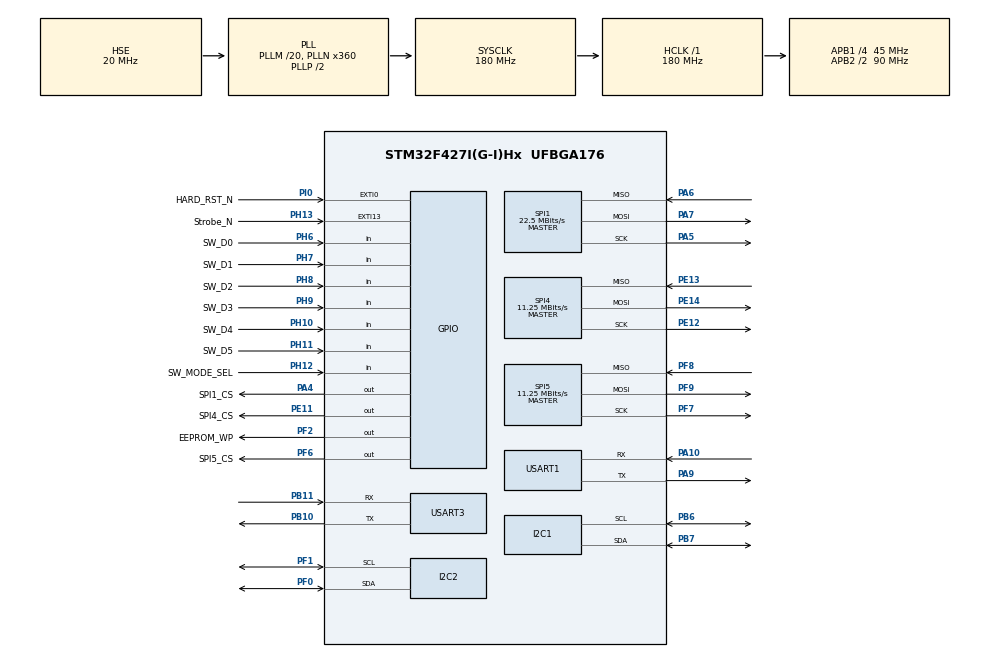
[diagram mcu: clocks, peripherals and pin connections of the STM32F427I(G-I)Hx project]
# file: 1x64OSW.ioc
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ADC1.Channel-0\#ChannelRegularConversion=ADC_CHANNEL_TEMPSENSOR
ADC1.NbrOfConversionFlag=1
ADC1.Rank-0\#ChannelRegularConversion=1
ADC1.SamplingTime-0\#ChannelRegularConversion=ADC_SAMPLETIME_3CYCLES
ADC1.master=1
Dma.Request0=USART1_RX
Dma.USART1_RX.0.Direction=DMA_PERIPH_TO_MEMORY
Dma.USART1_RX.0.FIFOMode=DMA_FIFOMODE_DISABLE
Dma.USART1_RX.0.Instance=DMA2_Stream2
Dma.USART1_RX.0.MemDataAlignment=DMA_MDATAALIGN_BYTE
Dma.USART1_RX.0.MemInc=DMA_MINC_ENABLE
Dma.USART1_RX.0.Mode=DMA_NORMAL
Dma.USART1_RX.0.PeriphDataAlignment=DMA_PDATAALIGN_BYTE
Dma.USART1_RX.0.PeriphInc=DMA_PINC_DISABLE
Dma.USART1_RX.0.Priority=DMA_PRIORITY_VERY_HIGH
FREERTOS.Tasks01=defaultTask,24,128,StartDefaultTask,Default,NULL,Dynamic,NULL,NULL
IWDG.Prescaler=IWDG_PRESCALER_32
IWDG.Reload=1500
Mcu.Family=STM32F4
Mcu.Name=STM32F427I(G-I)Hx
Mcu.Package=UFBGA176
NVIC.DMA2_Stream2_IRQn=true\:5\:0\:false\:false\:true\:true\:false\:true
NVIC.EXTI0_IRQn=true\:5\:0\:false\:false\:true\:true\:true\:true
NVIC.EXTI15_10_IRQn=true\:5\:0\:false\:false\:true\:true\:true\:true
NVIC.FLASH_IRQn=true\:5\:0\:false\:false\:true\:true\:true\:true
NVIC.PriorityGroup=NVIC_PRIORITYGROUP_4
NVIC.TIM1_TRG_COM_TIM11_IRQn=true\:0\:0\:false\:false\:true\:false\:false\:true
NVIC.TimeBase=TIM1_TRG_COM_TIM11_IRQn
NVIC.TimeBaseIP=TIM11
NVIC.USART1_IRQn=true\:5\:0\:false\:false\:true\:true\:true\:true
PA10.Mode=Asynchronous
PA10.Signal=USART1_RX
PA4.GPIO_Label=SPI1_CS
PA4.GPIO_PuPd=GPIO_PULLDOWN
PA4.Signal=GPIO_Output
PA5.Mode=Full_Duplex_Master
PA5.Signal=SPI1_SCK
PA6.Mode=Full_Duplex_Master
PA6.Signal=SPI1_MISO
PA7.Mode=Full_Duplex_Master
PA7.Signal=SPI1_MOSI
PA9.Mode=Asynchronous
PA9.Signal=USART1_TX
PB10.Mode=Asynchronous
PB10.Signal=USART3_TX
PB11.Mode=Asynchronous
PB11.Signal=USART3_RX
PB6.Mode=I2C
PB6.Signal=I2C1_SCL
PB7.Mode=I2C
PB7.Signal=I2C1_SDA
PE11.GPIO_Label=SPI4_CS
PE11.GPIO_PuPd=GPIO_PULLUP
PE11.Signal=GPIO_Output
PE12.Mode=Full_Duplex_Master
PE12.Signal=SPI4_SCK
PE13.Mode=Full_Duplex_Master
PE13.Signal=SPI4_MISO
PE14.Mode=Full_Duplex_Master
PE14.Signal=SPI4_MOSI
PF0.Mode=I2C
PF0.Signal=I2C2_SDA
PF1.Mode=I2C
PF1.Signal=I2C2_SCL
PF2.GPIO_Label=EEPROM_WP
PF2.GPIO_PuPd=GPIO_PULLUP
PF2.Signal=GPIO_Output
PF6.GPIO_Label=SPI5_CS
PF6.GPIO_PuPd=GPIO_PULLUP
PF6.Signal=GPIO_Output
PF7.Mode=Full_Duplex_Master
PF7.Signal=SPI5_SCK
PF8.Mode=Full_Duplex_Master
PF8.Signal=SPI5_MISO
PF9.Mode=Full_Duplex_Master
PF9.Signal=SPI5_MOSI
PH0/OSC_IN.Mode=HSE-External-Oscillator
PH0/OSC_IN.Signal=RCC_OSC_IN
PH1/OSC_OUT.Mode=HSE-External-Oscillator
PH1/OSC_OUT.Signal=RCC_OSC_OUT
PH10.GPIO_Label=SW_D4
PH10.Signal=GPIO_Input
PH11.GPIO_Label=SW_D5
PH11.Signal=GPIO_Input
PH12.GPIO_Label=SW_MODE_SEL
PH12.Signal=GPIO_Input
PH13.GPIO_Label=Strobe_N
PH13.GPIO_ModeDefaultEXTI=GPIO_MODE_IT_FALLING
PH13.GPIO_PuPd=GPIO_PULLUP
PH13.Signal=GPXTI13
PH6.GPIO_Label=SW_D0
PH6.Signal=GPIO_Input
PH7.GPIO_Label=SW_D1
PH7.Signal=GPIO_Input
PH8.GPIO_Label=SW_D2
PH8.Signal=GPIO_Input
PH9.GPIO_Label=SW_D3
PH9.Signal=GPIO_Input
PI0.GPIO_Label=HARD_RST_N
PI0.Signal=GPXTI0
ProjectManager.HeapSize=0x200
ProjectManager.StackSize=0x400
ProjectManager.TargetToolchain=MDK-ARM V5
RCC.48MHZClocksFreq_Value=90000000
RCC.AHBFreq_Value=180000000
RCC.APB1CLKDivider=RCC_HCLK_DIV4
RCC.APB1Freq_Value=45000000
RCC.APB1TimFreq_Value=90000000
RCC.APB2CLKDivider=RCC_HCLK_DIV2
RCC.APB2Freq_Value=90000000
RCC.APB2TimFreq_Value=180000000
RCC.CortexFreq_Value=180000000
RCC.HCLKFreq_Value=180000000
RCC.HSE_VALUE=20000000
RCC.HSI_VALUE=16000000
RCC.LSE_VALUE=32768
RCC.PLLM=20
RCC.PLLN=360
RCC.PLLSourceVirtual=RCC_PLLSOURCE_HSE
RCC.SYSCLKFreq_VALUE=180000000
RCC.SYSCLKSource=RCC_SYSCLKSOURCE_PLLCLK
RCC.VCOOutputFreq_Value=360000000
RTC.AsynchPrediv=124
SPI1.BaudRatePrescaler=SPI_BAUDRATEPRESCALER_4
SPI1.CLKPhase=SPI_PHASE_2EDGE
SPI1.CalculateBaudRate=22.5 MBits/s
SPI1.Direction=SPI_DIRECTION_2LINES
SPI1.Mode=SPI_MODE_MASTER
SPI1.VirtualType=VM_MASTER
SPI4.BaudRatePrescaler=SPI_BAUDRATEPRESCALER_8
SPI4.CalculateBaudRate=11.25 MBits/s
SPI4.Direction=SPI_DIRECTION_2LINES
SPI4.Mode=SPI_MODE_MASTER
SPI4.VirtualType=VM_MASTER
SPI5.BaudRatePrescaler=SPI_BAUDRATEPRESCALER_8
SPI5.CalculateBaudRate=11.25 MBits/s
SPI5.Direction=SPI_DIRECTION_2LINES
SPI5.Mode=SPI_MODE_MASTER
SPI5.VirtualType=VM_MASTER
USART1.VirtualMode=VM_ASYNC
USART3.VirtualMode=VM_ASYNC
VP_ADC1_TempSens_Input.Mode=IN-TempSens
VP_FREERTOS_VS_CMSIS_V2.Mode=CMSIS_V2
VP_IWDG_VS_IWDG.Mode=IWDG_Activate
VP_RTC_VS_RTC_Activate.Mode=RTC_Enabled
VP_SYS_VS_tim11.Mode=TIM11
board=custom

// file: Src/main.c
/* USER CODE BEGIN Header */
/**
  ******************************************************************************
  * @file           : main.c
  * @brief          : Main program body
  ******************************************************************************
  * @attention
  *
  * <h2><center>&copy; Copyright (c) 2020 STMicroelectronics.
  * All rights reserved.</center></h2>
  *
  * This software component is licensed by ST under Ultimate Liberty license
  * SLA0044, the "License"; You may not use this file except in compliance with
  * the License. You may obtain a copy of the License at:
  *                             www.st.com/SLA0044
  *
  ******************************************************************************
  */
/* USER CODE END Header */

#include "main.h"
#include "cmsis_os.h"
#include "adc.h"
#include "dma.h"
#include "i2c.h"
#include "iwdg.h"
#include "rtc.h"
#include "spi.h"
#include "usart.h"
#include "gpio.h"

/* USER CODE BEGIN PV */
uint8_t reset_flag = 0;
uint8_t flash_in_use;
UpgradeFlashState upgrade_status;
LogFileState log_file_state;
const uint32_t file_flash_addr[] =  {  0x08100000, 0x08104000, 0x08108000 };
const uint32_t file_flash_end = 0x0810BFFF;
const uint8_t file_flash_count = sizeof(file_flash_addr) / sizeof (file_flash_addr[0]);
/* USER CODE END PV */

void SystemClock_Config(void);
void MX_FREERTOS_Init(void);

/* USER CODE BEGIN 0 */
extern UpgradeStruct up_state;
/* USER CODE END 0 */

int main(void)
{

  /* MCU Configuration--------------------------------------------------------*/

  /* Reset of all peripherals, Initializes the Flash interface and the Systick. */
  HAL_Init();

  /* Configure the system clock */
  SystemClock_Config();

  /* Initialize all configured peripherals */
  MX_GPIO_Init();
  MX_DMA_Init();
  MX_ADC1_Init();
  MX_I2C1_Init();
  MX_I2C2_Init();
  MX_IWDG_Init();
  MX_SPI1_Init();
  MX_SPI4_Init();
  MX_SPI5_Init();
  MX_USART1_UART_Init();
  MX_USART3_UART_Init();
  MX_RTC_Init();
  /* Init scheduler */
  osKernelInitialize();

  /* Call init function for freertos objects (in freertos.c) */
  MX_FREERTOS_Init();

  /* Start scheduler */
  osKernelStart();

  /* We should never get here as control is now taken by the scheduler */

  /* Infinite loop */
  while (1)
  {

  }
}

void SystemClock_Config(void)
{
  RCC_OscInitTypeDef RCC_OscInitStruct = {0};
  RCC_ClkInitTypeDef RCC_ClkInitStruct = {0};
  RCC_PeriphCLKInitTypeDef PeriphClkInitStruct = {0};

  /** Configure the main internal regulator output voltage
  */
  __HAL_RCC_PWR_CLK_ENABLE();
  __HAL_PWR_VOLTAGESCALING_CONFIG(PWR_REGULATOR_VOLTAGE_SCALE1);
  /** Initializes the CPU, AHB and APB busses clocks
  */
  RCC_OscInitStruct.OscillatorType = RCC_OSCILLATORTYPE_LSI|RCC_OSCILLATORTYPE_HSE;
  RCC_OscInitStruct.HSEState = RCC_HSE_ON;
  RCC_OscInitStruct.LSIState = RCC_LSI_ON;
  RCC_OscInitStruct.PLL.PLLState = RCC_PLL_ON;
  RCC_OscInitStruct.PLL.PLLSource = RCC_PLLSOURCE_HSE;
  RCC_OscInitStruct.PLL.PLLM = 20;
  RCC_OscInitStruct.PLL.PLLN = 360;
  RCC_OscInitStruct.PLL.PLLP = RCC_PLLP_DIV2;
  RCC_OscInitStruct.PLL.PLLQ = 4;
  if (HAL_RCC_OscConfig(&RCC_OscInitStruct) != HAL_OK)
  {
    Error_Handler();
  }
  /** Activate the Over-Drive mode
  */
  if (HAL_PWREx_EnableOverDrive() != HAL_OK)
  {
    Error_Handler();
  }
  /** Initializes the CPU, AHB and APB busses clocks
  */
  RCC_ClkInitStruct.ClockType = RCC_CLOCKTYPE_HCLK|RCC_CLOCKTYPE_SYSCLK
                              |RCC_CLOCKTYPE_PCLK1|RCC_CLOCKTYPE_PCLK2;
  RCC_ClkInitStruct.SYSCLKSource = RCC_SYSCLKSOURCE_PLLCLK;
  RCC_ClkInitStruct.AHBCLKDivider = RCC_SYSCLK_DIV1;
  RCC_ClkInitStruct.APB1CLKDivider = RCC_HCLK_DIV4;
  RCC_ClkInitStruct.APB2CLKDivider = RCC_HCLK_DIV2;

  if (HAL_RCC_ClockConfig(&RCC_ClkInitStruct, FLASH_LATENCY_5) != HAL_OK)
  {
    Error_Handler();
  }
  PeriphClkInitStruct.PeriphClockSelection = RCC_PERIPHCLK_RTC;
  PeriphClkInitStruct.RTCClockSelection = RCC_RTCCLKSOURCE_LSI;
  if (HAL_RCCEx_PeriphCLKConfig(&PeriphClkInitStruct) != HAL_OK)
  {
    Error_Handler();
  }
}

/* USER CODE BEGIN 4 */
extern RespondStu resp_buf;
void OSW_Init(void)
{
  osStatus_t status;
  uint32_t i;
  uint8_t buf[TAG_MAX_SPACE];
  char *p = (char*)resp_buf.buf;

  EPT("Firmware version: %s\n", fw_version);

  if (__HAL_RCC_GET_FLAG(RCC_FLAG_BORRST) != RESET){
    SET_RESETFLAG(BOR_RESET_BIT);
    EPT("BOR Reset is set\n");
  }
  if (__HAL_RCC_GET_FLAG(RCC_FLAG_PINRST) != RESET){
    SET_RESETFLAG(PIN_RESET_BIT);
    EPT("PIN Reset is set\n");
  }
  if (__HAL_RCC_GET_FLAG(RCC_FLAG_PORRST) != RESET){
    SET_RESETFLAG(POR_RESET_BIT);
    EPT("POR/PDR Reset is set\n");
  }
  if (__HAL_RCC_GET_FLAG(RCC_FLAG_SFTRST) != RESET){
    SET_RESETFLAG(SFT_RESET_BIT);
    EPT("Software Reset is set\n");
    memset(p, 0, 116);
    p += 4;
    p += 16;
    status = RTOS_EEPROM_Read(EEPROM_ADDR, EE_TAG_PN, buf, 8);
    memcpy(p, buf, 8);
    p += 10;
    status |= RTOS_EEPROM_Read(EEPROM_ADDR, EE_TAG_DATE, buf, 8);
    memcpy(p, buf, 8);
    p += 10;
    strcpy((char*)p, fw_version);
    p += 37;
    status |= RTOS_EEPROM_Read(EEPROM_ADDR, EE_TAG_ASN, buf, 12);
    memcpy(p, buf, 12);
    p += 20;
    status |= RTOS_EEPROM_Read(EEPROM_ADDR, EE_TAG_FSN, buf, 23);
    memcpy(p, buf, 23);
    p += 23;
    if (status != osOK) {
      EPT("EEPROM ERROR! status = %#X", status);
    }

    Uart_Respond(CMD_SOFTRESET, RESPOND_SUCCESS, resp_buf.buf, 120);
  }
  if (__HAL_RCC_GET_FLAG(RCC_FLAG_IWDGRST) != RESET){
    SET_RESETFLAG(IWDG_RESET_BIT);
    EPT("Independent Watchdog Reset is set\n");
  }
  if (__HAL_RCC_GET_FLAG(RCC_FLAG_WWDGRST) != RESET){
    SET_RESETFLAG(WWDG_RESET_BIT);
    EPT("Window Watchdog Reset is set\n");
  }
  if (__HAL_RCC_GET_FLAG(RCC_FLAG_LPWRRST) != RESET){
    SET_RESETFLAG(LPWR_RESET_BIT);
    EPT("Low-Power Reset is set\n");
  }
/*
  if (IS_RESETFLAG_SET(BOR_RESET_BIT)) {
  }
*/
  __HAL_RCC_CLEAR_RESET_FLAGS();

  // upgrade
  up_state.run = RUN_MODE_APPLICATION;
  up_state.is_erasing = 0;
  flash_in_use = 0;

  FLASH_If_Init();
  status = Get_Up_Status(&upgrade_status);
  if (status) {
    EPT("Get upgrade status failed, status = %u\n", status);
  }
  EPT("upgrade_status: %#X, %u, %u, %u, %#X, %u, %#X\n", upgrade_status.magic, upgrade_status.run, upgrade_status.flash_empty, upgrade_status.length, upgrade_status.crc32,\
                upgrade_status.factory_length, upgrade_status.factory_crc32);

  if (upgrade_status.magic != UPGRADE_MAGIC) {
    EPT("Verify f_state.magic failed\n");
  }
  switch (upgrade_status.run) {
    case 0:
      EPT("Boot from factory\n");
      up_state.upgrade_addr = APPLICATION_1_ADDRESS;
      up_state.upgrade_sector = APPLICATION_1_SECTOR;
      break;
    case 1:
      EPT("Boot from Application 1\n");
      up_state.upgrade_addr = APPLICATION_2_ADDRESS;
      up_state.upgrade_sector = APPLICATION_2_SECTOR;
      break;
    case 2:
      EPT("Boot from Application 2\n");
      up_state.upgrade_addr = APPLICATION_1_ADDRESS;
      up_state.upgrade_sector = APPLICATION_1_SECTOR;
      break;
    default:
      EPT("f_state.run invalid\n");
      up_state.upgrade_addr = RESERVE_ADDRESS;
      up_state.upgrade_sector = RESERVE_SECTOR;
      break;
  }
  EPT("FLASH->OPTCR = %#X\n", FLASH->OPTCR);
  if (!upgrade_status.flash_empty) {
    flash_in_use = 1;
    up_state.is_erasing = 1;
    // erase flash
    EPT("flash is not empty\n");
    if (up_state.upgrade_addr != RESERVE_ADDRESS)
      FLASH_If_Erase_IT(up_state.upgrade_sector);
    EPT("erase sector...\n");
  } else {
    EPT("flash is empty\n");
  }

  // log
  Get_Log_Status(&log_file_state);
  EPT("log_file_state: %#X, %#X\n", log_file_state.offset, log_file_state.header);
  for (i = 0; i < file_flash_count - 1; ++i) {
    if (log_file_state.offset < file_flash_addr[i + 1]) {
      break;
    }
  }
  log_file_state.cur_sector = LOG_FIRST_SECTOR + i;

  Throw_Log((uint8_t*)"OSW1x64 program\n", 16);

}

extern FLASH_ProcessTypeDef pFlash;
extern osMutexId_t i2cMutex;
extern osMessageQueueId_t mid_ISR;
extern osSemaphoreId_t logEraseSemaphore;
void HAL_FLASH_EndOfOperationCallback(uint32_t ReturnValue)
{
  MsgStruct isr_msg;
  if (0xFFFFFFFFU == ReturnValue) {
    EPT("Erase flash operation completely\n");
    HAL_FLASH_Lock();
    flash_in_use = 0;
    if (up_state.is_erasing == 0) {
      // send signal to logTask
      osSemaphoreRelease(logEraseSemaphore);
    } else {
      upgrade_status.flash_empty = 1;
      up_state.is_erasing = 0;
      isr_msg.type = MSG_TYPE_FLASH_ISR;
      osMessageQueuePut(mid_ISR, &isr_msg, 0U, 0U);
    }
  }
}
void HAL_GPIO_EXTI_Callback(uint16_t GPIO_Pin)
{
  uint32_t sw_num;

  if (GPIO_Pin == GPIO_PIN_13) {
    if (HAL_GPIO_ReadPin(SW_MODE_SEL_GPIO_Port, SW_MODE_SEL_Pin) == GPIO_PIN_SET) {
      EPT("Switch strobe signal come but switch mode is set\n");
    } else {
      sw_num = Get_SW_By_IO();
      EPT("Switch number is %u\n", sw_num);
    }
  }
}

/* USER CODE END 4 */

void HAL_TIM_PeriodElapsedCallback(TIM_HandleTypeDef *htim)
{
  if (htim->Instance == TIM11) {
    HAL_IncTick();
  }
}

void Error_Handler(void)
{
}

/************************ (C) COPYRIGHT STMicroelectronics *****END OF FILE****/

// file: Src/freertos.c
/* USER CODE BEGIN Header */
/**
  ******************************************************************************
  * File Name          : freertos.c
  * Description        : Code for freertos applications
  ******************************************************************************
  * @attention
  *
  * <h2><center>&copy; Copyright (c) 2020 STMicroelectronics.
  * All rights reserved.</center></h2>
  *
  * This software component is licensed by ST under Ultimate Liberty license
  * SLA0044, the "License"; You may not use this file except in compliance with
  * the License. You may obtain a copy of the License at:
  *                             www.st.com/SLA0044
  *
  ******************************************************************************
  */
/* USER CODE END Header */

#include "FreeRTOS.h"
#include "task.h"
#include "main.h"
#include "cmsis_os.h"

/* USER CODE BEGIN Includes */
#include "command.h"
#include "iwdg.h"
#include "flash_if.h"
#include "functions.h"

/* USER CODE END Includes */

/* USER CODE BEGIN Variables */
osSemaphoreId_t uartProcessSemaphore;
osSemaphoreId_t cmdProcessSemaphore;
osSemaphoreId_t logEraseSemaphore;                  // semaphore id

osMessageQueueId_t mid_LogMsg;
osMessageQueueId_t mid_ISR;                // message queue id

osMutexId_t i2c1Mutex;
osMutexId_t i2c2Mutex;
osMutexId_t spi1Mutex;
osMutexId_t spi4Mutex;
osMutexId_t spi5Mutex;
const osMutexAttr_t Thread_Mutex_attr = {
  "Mutex",                              // human readable mutex name
  osMutexPrioInherit,                       // attr_bits
  NULL,                                     // memory for control block
  0U                                        // size for control block
};

osThreadId_t cmdProcessTaskHandle;
const osThreadAttr_t cmdProcessTask_attributes = {
  .name = "cmdProcessTask",
  .priority = (osPriority_t) CMD_PROCESS_PRIORITY,
  .stack_size = 2048
};

osThreadId_t uartProcessTaskHandle;
const osThreadAttr_t uartProcessTask_attributes = {
  .name = "uartProcessTask",
  .priority = (osPriority_t) UART_PROCESS_PRIORITY,
  .stack_size = 512
};

osThreadId_t watchdogTaskHandle;
const osThreadAttr_t watchdogTask_attributes = {
  .name = "watchdogTask",
  .priority = (osPriority_t) WATCHDOG_PRIORITY,
  .stack_size = 512
};

osThreadId_t isrTaskHandle;
const osThreadAttr_t isrTask_attributes = {
  .name = "isrTask",
  .priority = (osPriority_t) INTERRUPT_TASK_PRIORITY,
  .stack_size = 512
};

osThreadId_t logTaskHandle;
const osThreadAttr_t logTask_attributes = {
  .name = "logTask",
  .priority = (osPriority_t) LOG_MESSAGE_PRIORITY,
  .stack_size = 512
};

/* USER CODE END Variables */
/* Definitions for defaultTask */
osThreadId_t defaultTaskHandle;
const osThreadAttr_t defaultTask_attributes = {
  .name = "defaultTask",
  .priority = (osPriority_t) osPriorityNormal,
  .stack_size = 128
};

/* USER CODE BEGIN FunctionPrototypes */
void uartProcessTask(void *argument);
void cmdProcessTask(void *argument);
void watchdogTask(void *argument);
void isrTask(void *argument);
void logTask(void *argument);

/* USER CODE END FunctionPrototypes */

void StartDefaultTask(void *argument);

void MX_FREERTOS_Init(void); /* (MISRA C 2004 rule 8.1) */

void MX_FREERTOS_Init(void) {

  /* USER CODE BEGIN RTOS_SEMAPHORES */
  /* add semaphores, ... */
  uartProcessSemaphore = osSemaphoreNew(1U, 0U, NULL);
  if (uartProcessSemaphore == NULL) {
  }

  cmdProcessSemaphore = osSemaphoreNew(1U, 0U, NULL);
  if (cmdProcessSemaphore == NULL) {
  }

  logEraseSemaphore = osSemaphoreNew(1U, 0U, NULL);
  if (logEraseSemaphore == NULL) {
  }

  mid_LogMsg = osMessageQueueNew(LOG_QUEUE_LENGTH, sizeof(MsgStruct), NULL);
  if (mid_LogMsg == NULL) {
  }

  mid_ISR = osMessageQueueNew(ISR_QUEUE_LENGTH, sizeof(MsgStruct), NULL);
  if (mid_ISR == NULL) {
  }

  i2c1Mutex = osMutexNew(&Thread_Mutex_attr);
  if (i2c1Mutex == NULL) {
  }

  i2c2Mutex = osMutexNew(&Thread_Mutex_attr);
  if (i2c2Mutex == NULL) {
  }

  spi1Mutex = osMutexNew(&Thread_Mutex_attr);
  if (spi1Mutex == NULL) {
  }

  spi4Mutex = osMutexNew(&Thread_Mutex_attr);
  if (spi4Mutex == NULL) {
  }

  spi5Mutex = osMutexNew(&Thread_Mutex_attr);
  if (spi5Mutex == NULL) {
  }

  /* USER CODE END RTOS_SEMAPHORES */

  /* Create the thread(s) */
  /* creation of defaultTask */
  defaultTaskHandle = osThreadNew(StartDefaultTask, NULL, &defaultTask_attributes);

  /* USER CODE BEGIN RTOS_THREADS */
  /* add threads, ... */
  uartProcessTaskHandle = osThreadNew(uartProcessTask, NULL, &uartProcessTask_attributes);
  cmdProcessTaskHandle = osThreadNew(cmdProcessTask, NULL, &cmdProcessTask_attributes);
  watchdogTaskHandle = osThreadNew(watchdogTask, NULL, &watchdogTask_attributes);
  isrTaskHandle = osThreadNew(isrTask, NULL, &isrTask_attributes);
  logTaskHandle = osThreadNew(logTask, NULL, &logTask_attributes);

  /* USER CODE END RTOS_THREADS */

}

void StartDefaultTask(void *argument)
{
  for(;;)
  {
    osDelay(1);
  }
}

/* USER CODE BEGIN Application */
extern TransStu trans_buf;
struct UartTaskSync{
  uint8_t ProcessOnGoing;
  uint8_t ProcessTimeout;
} uart_sync;

void uartProcessTask(void *argument)
{
  uint32_t msg_length;
  uint32_t msg_id;
  uint32_t chk;
  uint32_t wait_time;
  uint32_t *p32;
  osStatus_t status;

  CLEAR_BIT(huart1.Instance->SR, USART_SR_RXNE);
  __HAL_UART_FLUSH_DRREGISTER(&huart1);
  HAL_UART_Receive_IT(&huart1, trans_buf.buf, 1);

  uart_sync.ProcessTimeout = 0;
  uart_sync.ProcessOnGoing = 0;
  trans_buf.stage = TRANS_WAIT_START;

  for(;;)
  {
    if (trans_buf.stage == TRANS_WAIT_START) {
      wait_time = osWaitForever;
    } else if (trans_buf.stage == TRANS_WAIT_HEADER) {
      wait_time = pdMS_TO_TICKS(TRANS_WAIT_HEAD_TIME);
    } else if (trans_buf.stage == TRANS_RECV_DATA) {
      wait_time = pdMS_TO_TICKS(TRANS_WAIT_TIME);
    }
    status = osSemaphoreAcquire(uartProcessSemaphore, wait_time);
    if (status != osOK) {
      HAL_UART_DMAStop(&huart1);
      msg_id = 0;
      EPT("DMA timeout, stage = %u\n", trans_buf.stage);
      Uart_Respond(msg_id, RESPOND_LENGTH_ERR, NULL, 0);
      trans_buf.stage = TRANS_WAIT_START;
      HAL_UART_Receive_IT(&huart1, trans_buf.buf, 1);
      continue;
    }

    if (trans_buf.stage == TRANS_WAIT_START) {
      // Received start byte
      if (trans_buf.buf[0] != TRANS_START_BYTE) {
        // Invalid data
        EPT("Invalid character: %#X\n", trans_buf.buf[0]);
        HAL_UART_Receive_IT(&huart1, trans_buf.buf, 1);
      } else {
        // Prepare to receive message header
        trans_buf.stage = TRANS_WAIT_HEADER;
        HAL_UART_Receive_DMA(&huart1, &trans_buf.buf[CMD_SEQ_MSG_ID], 8);
      }
    } else if (trans_buf.stage == TRANS_WAIT_HEADER) {
      // Received message header
      p32 = (uint32_t*)&trans_buf.buf[CMD_SEQ_MSG_ID];
      msg_id = switch_endian(*p32);
      p32 = (uint32_t*)&trans_buf.buf[CMD_SEQ_MSG_LENGTH];
      msg_length = switch_endian(*p32);
      if (msg_length > TRANS_MAX_LENGTH - 1 || msg_length < 4 * 5) {
        // Length invalid
        PRINT_HEX("buf", trans_buf.buf, 9);
        msg_id = 0;
        EPT("Invalid length %#X\n", msg_length);
        Uart_Respond(msg_id, RESPOND_LENGTH_ERR, NULL, 0);
        trans_buf.stage = TRANS_WAIT_START;
        HAL_UART_Receive_IT(&huart1, trans_buf.buf, 1);
      } else {
        trans_buf.stage = TRANS_RECV_DATA;
        HAL_UART_Receive_DMA(&huart1, &trans_buf.buf[CMD_SEQ_MSG_DATA], msg_length - 8);
        EPT("Message Length: %u, ID: %u\n", msg_length, msg_id);
        trans_buf.length = msg_length + 1;
      }
    } else if (trans_buf.stage == TRANS_RECV_DATA){
      // Received message data

      // TODO: Check CRC
      chk = Cal_CRC32((uint8_t*)&trans_buf.buf[CMD_SEQ_MSG_ID], trans_buf.length - 4 - 1);
      p32 = (uint32_t*)&trans_buf.buf[trans_buf.length - 4];
      if (chk ^ switch_endian(*p32)) {
        // Incorrect
        EPT("CRC32 verification failed\n");
        EPT("msg_length = %#X, trans_buf.length = %#X, chk = %#X, rcv_chk = %#X\n", msg_length, trans_buf.length, chk, switch_endian((uint32_t)trans_buf.buf[trans_buf.length - 4]));
        PRINT_HEX("buf", trans_buf.buf, trans_buf.length);
        Uart_Respond(msg_id, RESPOND_CHECKSUM_ERR, NULL, 0);
      } else {
        if (!uart_sync.ProcessOnGoing) {
          // Process Command and Respond
          xTaskNotifyGive(cmdProcessTaskHandle);
          status = osSemaphoreAcquire(cmdProcessSemaphore, pdMS_TO_TICKS(COMMAND_PROCESS_TIME));
          if (status == osErrorTimeout) {
            // TODO: Process command timeout
            EPT("Process command timeout\n");
            uart_sync.ProcessTimeout = 1;
            Uart_Respond(msg_id, RESPOND_FAILURE, NULL, 0);
          } else if (status != osOK) {
            EPT("Error, status=%#X\n", status);
          }
        } else {
            EPT("Detected process ongoing\n");
            Uart_Respond(msg_id, RESPOND_FAILURE, NULL, 0);
        }
      }

      msg_id = 0;
      trans_buf.stage = TRANS_WAIT_START;
      HAL_UART_Receive_IT(&huart1, trans_buf.buf, 1);
    }
  }
}

extern RespondStu resp_buf;

void cmdProcessTask(void *argument)
{
  for (;;)
  {
    ulTaskNotifyTake(pdTRUE, portMAX_DELAY);
    if (trans_buf.stage != TRANS_RECV_DATA) {
      EPT("Stage incorrect\n");
      continue;
    }

    uart_sync.ProcessOnGoing = 1;
    Cmd_Process();

    if (uart_sync.ProcessTimeout == 0) {
      osSemaphoreRelease(cmdProcessSemaphore);
      Uart_Respond(resp_buf.cmd, resp_buf.status, resp_buf.buf, resp_buf.length);
    } else {
      EPT("Detected process timeout\n");
      uart_sync.ProcessTimeout = 0;
    }

    uart_sync.ProcessOnGoing = 0;
  }
}

void watchdogTask(void *argument)
{
  uint32_t delay = pdMS_TO_TICKS(WATCH_DOG_DELAY_TIME);

  HAL_IWDG_Refresh(&hiwdg);
  for(;;)
  {
    osDelay(delay);
    HAL_IWDG_Refresh(&hiwdg);
  }
}

extern UpgradeFlashState upgrade_status;
void isrTask(void *argument)
{
  osStatus_t status;
  MsgStruct msg;

  OSW_Init();

  for (;;)
  {
    status = osMessageQueueGet(mid_ISR, &msg, 0U, osWaitForever);
    if (status != osOK)
      continue;

    if (msg.type == MSG_TYPE_FLASH_ISR) {
      EPT("Received MSG_TYPE_FLASH_ISR, flash_empty = %u\n", upgrade_status.flash_empty);
      status = Update_Up_Status(&upgrade_status);
      if (status != osOK) {
        EPT("Update upgrade status to eeprom failed\n");
      }
    }
  }
}

extern UpgradeStruct up_state;
void logTask(void *argument)
{
  MsgStruct log_msg;
  osStatus_t status;
  uint32_t write_length;

  uint32_t overflow_addr;
  uint32_t next_sector_addr;
  uint8_t next_sector;
  uint8_t remainder;

  if (log_file_state.cur_sector == LOG_FIRST_SECTOR + file_flash_count - 1) {
    overflow_addr = file_flash_end + 1;
    next_sector_addr = file_flash_addr[0];
    next_sector = LOG_FIRST_SECTOR;
  } else {
    next_sector_addr = overflow_addr = file_flash_addr[log_file_state.cur_sector - LOG_FIRST_SECTOR + 1];
    next_sector = log_file_state.cur_sector + 1;
  }

  for (;;)
  {
    status = osMessageQueueGet(mid_LogMsg, &log_msg, 0U, osWaitForever);
    if (status != osOK)
      continue;

    if (log_file_state.offset >= file_flash_end + 1 || log_file_state.offset < file_flash_addr[0])
      continue;

    // The final amount of data written to flash must be an integer multiple of 4
    remainder = log_msg.length % 4;
    if (remainder) remainder = 4 - remainder;
    if (log_file_state.offset + log_msg.length + remainder >= overflow_addr) {
      // 1. fill the rest space with ' '
      Log_Write_byte(log_file_state.offset, ' ', overflow_addr - log_file_state.offset);

      // 2. erase flash
      while (flash_in_use) {
        osDelay(pdMS_TO_TICKS(200));
      }
      flash_in_use = 1;
      osSemaphoreAcquire(logEraseSemaphore, 0);
      FLASH_If_Erase_IT(next_sector);

      // 3. waiting for completion
      osSemaphoreAcquire(logEraseSemaphore, osWaitForever);

      // 4. update log_file_state, overflow_addr and next_***s
      log_file_state.offset = next_sector_addr;
      log_file_state.cur_sector = next_sector;
      if (log_file_state.cur_sector == LOG_FIRST_SECTOR + file_flash_count - 1) {
        overflow_addr = file_flash_end + 1;
        next_sector_addr = file_flash_addr[0];
        next_sector = LOG_FIRST_SECTOR;
      } else {
        next_sector_addr = overflow_addr = file_flash_addr[log_file_state.cur_sector - LOG_FIRST_SECTOR + 1];
        next_sector = log_file_state.cur_sector + 1;
      }
      if (log_file_state.offset == log_file_state.header) {
        log_file_state.header = next_sector_addr;
      }
    }

    EPT("Writing log to flash address %#X, header = %#X\n", log_file_state.offset, log_file_state.header);
    while (flash_in_use) {
      EPT("Flash in using...\n");
      osDelay(pdMS_TO_TICKS(200));
    }
    write_length = Log_Write(log_file_state.offset, log_msg.pbuf, log_msg.length);
    log_file_state.offset += write_length;

    vPortFree(log_msg.pbuf);

    if (osMessageQueueGetCount(mid_LogMsg) == 0) {
      // update log_file_state to eeprom/flash
      Update_Log_Status(&log_file_state);
    }
  }
}

/* USER CODE END Application */

/************************ (C) COPYRIGHT STMicroelectronics *****END OF FILE****/
